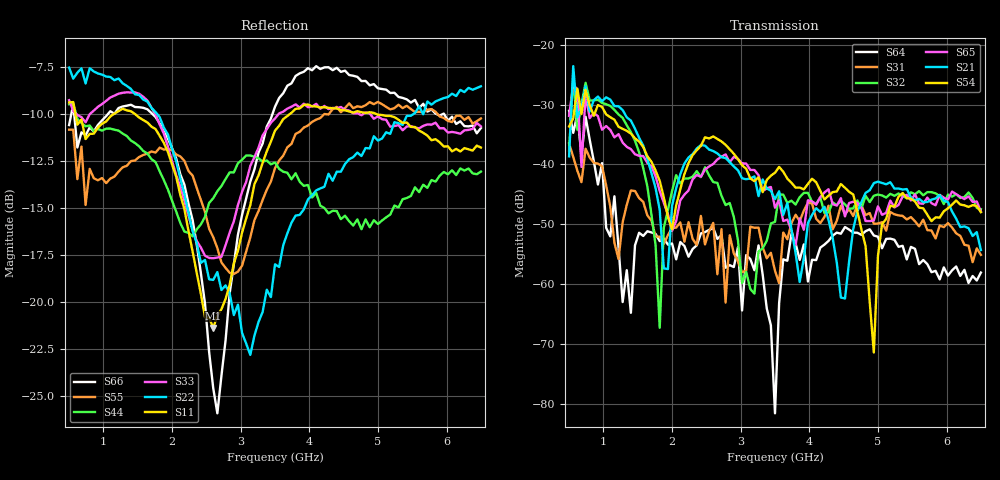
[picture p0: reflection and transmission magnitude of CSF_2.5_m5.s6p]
!Keysight Technologies,M9804A,MY58100912,A.14.10.03
!Date: Thursday, April 27, 2023 10:28:33
!Correction: S11(C  6-Port  )
!S12(C  6-Port  )
!S13(C  6-Port  )
!S14(C  6-Port  )
!S15(C  6-Port  )
!S16(C  6-Port  )
!S21(C  6-Port  )
!S22(C  6-Port  )
!S23(C  6-Port  )
!S24(C  6-Port  )
!S25(C  6-Port  )
!S26(C  6-Port  )
!S31(C  6-Port  )
!S32(C  6-Port  )
!S33(C  6-Port  )
!S34(C  6-Port  )
!S35(C  6-Port  )
!S36(C  6-Port  )
!S41(C  6-Port  )
!S42(C  6-Port  )
!S43(C  6-Port  )
!S44(C  6-Port  )
!S45(C  6-Port  )
!S46(C  6-Port  )
!S51(C  6-Port  )
!S52(C  6-Port  )
!S53(C  6-Port  )
!S54(C  6-Port  )
!S55(C  6-Port  )
!S56(C  6-Port  )
!S61(C  6-Port  )
!S62(C  6-Port  )
!S63(C  6-Port  )
!S64(C  6-Port  )
!S65(C  6-Port  )
!S66(C  6-Port  )
!S6P File: Measurement: :
# Hz S  RI  R 50
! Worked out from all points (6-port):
!   101 points, 500 MHz to 6.5 GHz, reference 50 ohm
!   strongest paths, dB at 500 MHz, 2 GHz, 3.5 GHz, 5 GHz, 6.5 GHz:
!     S54: -33.7, -50.8, -41.4, -55.3, -48.0
!     S21: -38.7, -46.9, -45.8, -42.9, -54.3
!     S65: -31.9, -51.1, -47.2, -47.0, -47.9
!     S32: -37.7, -44.5, -49.6, -45.0, -47.5
!     S31: -36.5, -50.6, -57.8, -49.9, -55.1
!     S64: -31.0, -53.2, -81.6, -52.1, -58.1
!   lowest |S11| = -21.4 dB at 2.6 GHz (marker M1), VSWR 1.19, Z = 42.4 + j2.26 ohm
!   |S11| at or under -10 dB: 592.7 MHz to 1.144 GHz (551 MHz wide, 63.5 % of centre); 1.466 GHz to 3.711 GHz (2.244 GHz wide, 86.7 % of centre); 4.989 GHz to end of sweep
